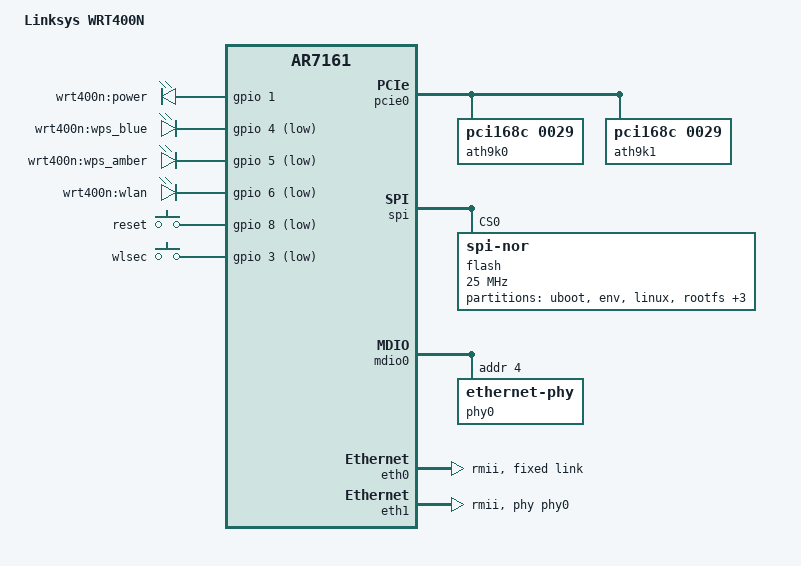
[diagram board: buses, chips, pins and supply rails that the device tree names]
// SPDX-License-Identifier: GPL-2.0-or-later OR MIT
/dts-v1/;

#include "ar7100.dtsi"
#include <dt-bindings/gpio/gpio.h>
#include <dt-bindings/input/input.h>

/ {
	compatible = "linksys,wrt400n", "qca,ar7161";
	model = "Linksys WRT400N";

	chosen {
		bootargs = "console=ttyS0,115200";
	};

	aliases {
		label-mac-device = &eth0;
		};
	
	leds {
		compatible = "gpio-leds";

		led_power {
			label = "wrt400n:power";
			/* GPIO 1, активный высокий, включён по умолчанию */
			gpios = <&gpio 1 GPIO_ACTIVE_HIGH>;
			default-state = "on";
		};

		wps_blue {
			label = "wrt400n:wps_blue";
			gpios = <&gpio 4 GPIO_ACTIVE_LOW>;
		};

		wps_amber {
			label = "wrt400n:wps_amber";
			gpios = <&gpio 5 GPIO_ACTIVE_LOW>;
		};

		wlan {
			label = "wrt400n:wlan";
			gpios = <&gpio 6 GPIO_ACTIVE_LOW>;
		};
	};

	keys {
		compatible = "gpio-keys";

		reset {
			label = "reset";
			linux,code = <KEY_RESTART>;
			gpios = <&gpio 8 GPIO_ACTIVE_LOW>;
		};

		wlsec {
			label = "wlsec";
			linux,code = <KEY_WPS_BUTTON>;
			gpios = <&gpio 3 GPIO_ACTIVE_LOW>;
		};
	};
};


&pcie0 {
	status = "okay";

	ath9k0: wifi@0,11 {
		compatible = "pci168c,0029";
		reg = <0x8800 0 0 0 0>;
		qca,no-eeprom;
		#gpio-cells = <2>;
		gpio-controller;
	};

	ath9k1: wifi@0,12 {
		compatible = "pci168c,0029";
		reg = <0x9000 0 0 0 0>;
		qca,no-eeprom;
		#gpio-cells = <2>;
		gpio-controller;
	};
};

&spi {
	status = "okay";

	flash@0 {
		compatible = "jedec,spi-nor";
		reg = <0>;
		spi-max-frequency = <25000000>;

		partitions {
			compatible = "fixed-partitions";
			#address-cells = <1>;
			#size-cells = <1>;

			partition@0 {
				label = "uboot";
				reg = <0x000000 0x030000>;
				read-only;
			};

			partition@30000 {
				label = "env";
				reg = <0x030000 0x010000>;
			};

			partition@40000 {
				label = "linux";
				reg = <0x040000 0x140000>;
			};

			partition@240000 {
				label = "rootfs";
				reg = <0x180000 0xe60000>;
			};

			partition@7b0000 {
				label = "nvram";
				reg = <0xfe0000 0x010000>;
				read-only;
			};
			
	      		caldata: partition@7f0000 {
				label = "caldata";
				reg = <0xff0000 0x010000>;
				read-only;
			};
		
			partition@40000_firmware {
				label = "firmware";
				reg = <0x040000 0xfa0000>;
			};
		};	
	};
};


&mdio0 {
	status = "okay";

	phy0: ethernet-phy@4 {
		reg = <4>;
		phy-mode = "rmii";
	};
};

&eth0 {
	status = "okay";

	pll-data = <0x11110000 0x00001099 0x00991099>;
	
	phy-mode = "rmii";

	
	fixed-link {
		speed = <100>;
		full-duplex;
	};
};

&eth1 {
	status = "okay";

	pll-data = <0x11110000 0x00001099 0x00991099>;
	
	phy-handle = <&phy0>;
	phy-mode = "rmii";

	
};

